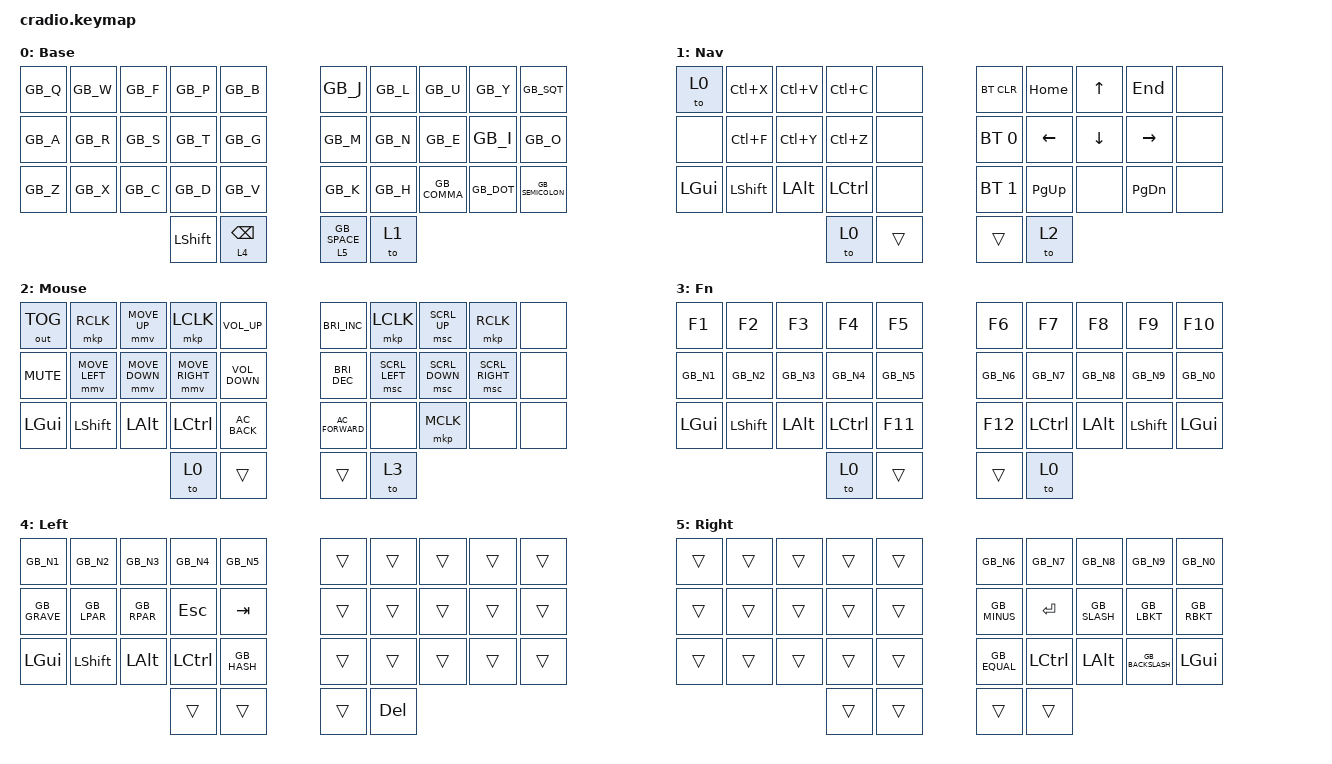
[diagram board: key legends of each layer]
// Copyright (c) 2022 The ZMK Contributors
// SPDX-License-Identifier: MIT

#include "keys_en_gb_extended.h"

#define ZMK_POINTING_DEFAULT_MOVE_VAL 1000  // default: 600
#define ZMK_POINTING_DEFAULT_SCRL_VAL 60    // default: 10

#include <behaviors.dtsi>
#include <dt-bindings/zmk/bt.h>
#include <dt-bindings/zmk/keys.h>
#include <dt-bindings/zmk/outputs.h>
#include <dt-bindings/zmk/pointing.h>

/ {
    behaviors {
        space_and_back: space_and_back {
            compatible = "zmk,behavior-hold-tap";
            label = "SPACE_AND_BACK";
            bindings = <&mo>, <&kp>;

            #binding-cells = <2>;
            tapping-term-ms = <250>;
            flavor = "tap-preferred";
        };

};

    combos { compatible = "zmk,combos"; };

    keymap {
        compatible = "zmk,keymap";

        default_layer {
            display-name = "Base";
            bindings = <
&kp GB_Q  &kp GB_W  &kp GB_F  &kp GB_P           &kp GB_B                       &kp GB_J                    &kp GB_L  &kp GB_U      &kp GB_Y    &kp GB_SQT
&kp GB_A  &kp GB_R  &kp GB_S  &kp GB_T           &kp GB_G                       &kp GB_M                    &kp GB_N  &kp GB_E      &kp GB_I    &kp GB_O
&kp GB_Z  &kp GB_X  &kp GB_C  &kp GB_D           &kp GB_V                       &kp GB_K                    &kp GB_H  &kp GB_COMMA  &kp GB_DOT  &kp GB_SEMICOLON
                              &kp LSHIFT         &space_and_back 4 BACKSPACE    &space_and_back 5 GB_SPACE  &to 1
            >;
        };

        keyboard_movement {
            display-name = "Nav";
            bindings = <
&to 0     &kp LC(X)  &kp LC(V)  &kp LC(C)  &none     &bt BT_CLR    &kp HOME   &kp UP    &kp END    &none
&none     &kp LC(F)  &kp LC(Y)  &kp LC(Z)  &none     &bt BT_SEL 0  &kp LEFT   &kp DOWN  &kp RIGHT  &none
&kp LGUI  &kp LSHFT  &kp LALT   &kp LCTRL  &none     &bt BT_SEL 1  &kp PG_UP  &none     &kp PG_DN  &none
                                &to 0      &trans    &trans        &to 2
            >;
        };

        mouse_movement {
            display-name = "Mouse";
            bindings = <
&out OUT_TOG  &mkp RCLK       &mmv MOVE_UP    &mkp LCLK        &kp C_VOLUME_UP      &kp C_BRIGHTNESS_INC  &mkp LCLK       &msc SCRL_UP    &mkp RCLK        &none
&kp C_MUTE    &mmv MOVE_LEFT  &mmv MOVE_DOWN  &mmv MOVE_RIGHT  &kp C_VOLUME_DOWN    &kp C_BRIGHTNESS_DEC  &msc SCRL_LEFT  &msc SCRL_DOWN  &msc SCRL_RIGHT  &none
&kp LGUI      &kp LSHFT       &kp LALT        &kp LCTRL        &kp C_AC_BACK        &kp C_AC_FORWARD      &none           &mkp MCLK       &none            &none
                                              &to 0            &trans               &trans                &to 3
            >;
        };

        functions {
            display-name = "Fn";
            bindings = <
&kp F1     &kp F2     &kp F3     &kp F4     &kp F5       &kp F6     &kp F7     &kp F8     &kp F9     &kp F10
&kp GB_N1  &kp GB_N2  &kp GB_N3  &kp GB_N4  &kp GB_N5    &kp GB_N6  &kp GB_N7  &kp GB_N8  &kp GB_N9  &kp GB_N0
&kp LGUI   &kp LSHFT  &kp LALT   &kp LCTRL  &kp F11      &kp F12    &kp LCTRL  &kp LALT   &kp LSHFT  &kp LGUI
                                 &to 0      &trans       &trans     &to 0
            >;
        };

        left_half {
            display-name = "Left";
            bindings = <
&kp GB_N1     &kp GB_N2       &kp GB_N3     &kp GB_N4   &kp GB_N5      &trans  &trans      &trans  &trans  &trans
&kp GB_GRAVE  &kp GB_LPAR     &kp GB_RPAR   &kp ESCAPE  &kp TAB        &trans  &trans      &trans  &trans  &trans
&kp LEFT_GUI  &kp LEFT_SHIFT  &kp LEFT_ALT  &kp LCTRL   &kp GB_HASH    &trans  &trans      &trans  &trans  &trans
                                            &trans      &trans         &trans  &kp DELETE
            >;
        };

        right_half {
            display-name = "Right";
            bindings = <
&trans  &trans  &trans  &trans  &trans    &kp GB_N6     &kp GB_N7  &kp GB_N8     &kp GB_N9         &kp GB_N0
&trans  &trans  &trans  &trans  &trans    &kp GB_MINUS  &kp RET    &kp GB_SLASH  &kp GB_LBKT       &kp GB_RBKT
&trans  &trans  &trans  &trans  &trans    &kp GB_EQUAL  &kp LCTRL  &kp LEFT_ALT  &kp GB_BACKSLASH  &kp LEFT_GUI
                        &trans  &trans    &trans        &trans
            >;
        };

    };
};
